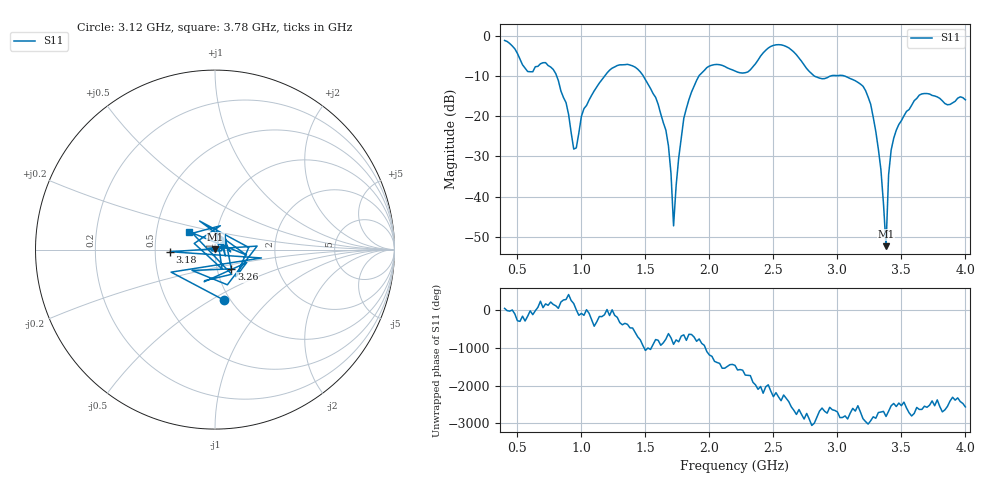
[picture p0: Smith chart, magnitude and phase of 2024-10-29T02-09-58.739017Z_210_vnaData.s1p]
!Created with skrf (http://scikit-rf.org).
# Hz S RI R 50.0
!freq ReS11 ImS11
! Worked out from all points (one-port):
!   181 points, 400 MHz to 4 GHz, reference 50 ohm
!   lowest |S11| = -52.3 dB at 3.38 GHz (marker M1), VSWR 1.00, Z = 50.1 + j0.22 ohm
!   |S11| at or under -10 dB: 806.3 MHz to 1.184 GHz (377.3 MHz wide, 37.9 % of centre); 1.483 GHz to 1.918 GHz (435.6 MHz wide, 25.6 % of centre); 3.053 GHz to end of sweep (the widest 3 of 4)
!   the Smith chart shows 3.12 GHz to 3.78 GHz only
!   S11 on the Smith chart (normalised r, x): 3.12 GHz: 0.93, -0.57; 3.18 GHz: 0.60, -0.02; 3.26 GHz: 1.17, -0.26; 3.78 GHz: 0.74, +0.15
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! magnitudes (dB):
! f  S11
! 400 MHz  -1.2
! 580 MHz  -8.9
! 780 MHz  -8.4
! 860 MHz  -15.4
! 960 MHz  -27.9
! 1.02 GHz  -18.1
! 1.3 GHz  -7.2
! 1.44 GHz  -8.3
! 1.6 GHz  -17.1
! 1.68 GHz  -27.4
! 1.72 GHz  -47.3
! 1.76 GHz  -30.5
! 1.8 GHz  -20.5
! 1.92 GHz  -9.9
! 2.2 GHz  -8.8
! 2.66 GHz  -4.1
! 2.82 GHz  -10.1
! 3.1 GHz  -10.7
! 3.12 GHz  -10.9
! 3.18 GHz  -12.0
! 3.26 GHz  -17.0
! 3.34 GHz  -33.3
! 3.38 GHz  -52.3
! 3.4 GHz  -34.6
! 3.42 GHz  -28.4
! 3.56 GHz  -18.4
! 3.78 GHz  -15.2
! 4 GHz  -15.9
